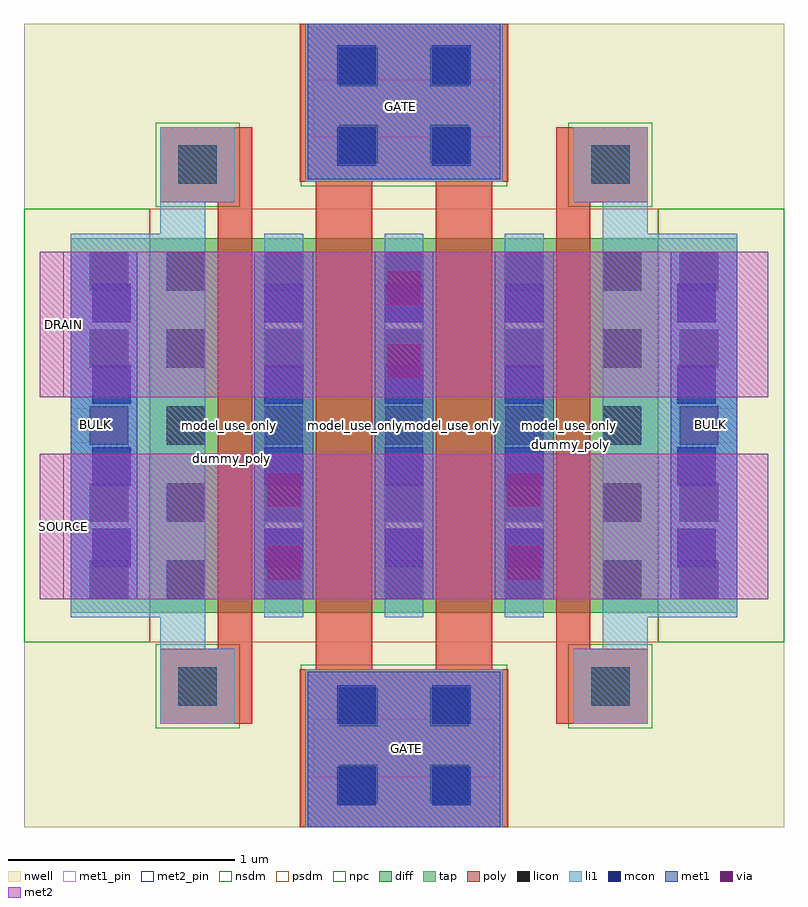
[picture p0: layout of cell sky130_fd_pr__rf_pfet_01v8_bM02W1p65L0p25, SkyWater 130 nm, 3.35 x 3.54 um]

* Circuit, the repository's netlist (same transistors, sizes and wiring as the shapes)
* Copyright 2020 The SkyWater PDK Authors
*
* Licensed under the Apache License, Version 2.0 (the "License");
* you may not use this file except in compliance with the License.
* You may obtain a copy of the License at
*
*     https://www.apache.org/licenses/LICENSE-2.0
*
* Unless required by applicable law or agreed to in writing, software
* distributed under the License is distributed on an "AS IS" BASIS,
* WITHOUT WARRANTIES OR CONDITIONS OF ANY KIND, either express or implied.
* See the License for the specific language governing permissions and
* limitations under the License.
*
* SPDX-License-Identifier: Apache-2.0


.subckt sky130_fd_pr__rf_pfet_01v8_bM02W1p65L0p25 BULK DRAIN GATE SOURCE
X0 SOURCE BULK BULK BULK sky130_fd_pr__pfet_01v8 w=1.65e+06u l=150000u
X1 SOURCE GATE DRAIN BULK sky130_fd_pr__pfet_01v8 w=1.65e+06u l=250000u
X2 BULK BULK SOURCE BULK sky130_fd_pr__pfet_01v8 w=1.65e+06u l=150000u
X3 DRAIN GATE SOURCE BULK sky130_fd_pr__pfet_01v8 w=1.65e+06u l=250000u
.ends

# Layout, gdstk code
import gdstk
lib = gdstk.Library(unit=1e-6, precision=1e-09)
def R(c, l, rs):  # rectangles x0, y0, x1, y1
    for r in rs: c.add(gdstk.rectangle(r[:2], r[2:], *l))
def A(c, l, x, y, w, h, nx, ny, dx, dy):  # array of equal rectangles
    R(c, l, [(x+i*dx, y+j*dy, x+i*dx+w, y+j*dy+h) for i in range(nx) for j in range(ny)])
nwell = (64, 20)
diff = (65, 20)
tap = (65, 44)
poly = (66, 20)
licon = (66, 44)
li1 = (67, 20)
mcon = (67, 44)
met1_pin = (68, 16)
met1 = (68, 20)
via = (68, 44)
met2_pin = (69, 16)
met2 = (69, 20)
nsdm = (93, 44)
psdm = (94, 20)
npc = (95, 20)

sky130_fd_pr__rf_pfet_01 = lib.new_cell('sky130_fd_pr__rf_pfet_01v8_bM02W1p65L0p25')
R(sky130_fd_pr__rf_pfet_01, nwell, [(0,0,3.35,3.54)])
R(sky130_fd_pr__rf_pfet_01, diff, [(0.555,0.945,2.795,2.595)])
R(sky130_fd_pr__rf_pfet_01, tap, [(0.205,0.945,0.555,2.595), (2.795,0.945,3.145,2.595)])
R(sky130_fd_pr__rf_pfet_01, poly, [(1.215,0,2.135,0.695), (0.6,0.455,0.93,0.785), (0.855,0.455,1.005,3.085), (2.345,0.455,2.495,3.085), (2.42,0.455,2.75,0.785), (1.285,0.695,1.535,2.845), (1.815,0.695,2.065,2.845), (0.6,2.755,0.93,3.085), (2.42,2.755,2.75,3.085), (1.215,2.845,2.135,3.54)])
A(sky130_fd_pr__rf_pfet_01, licon, 0.29, 1.005, 0.17, 0.17, 1, 5, 0, 0.34)
A(sky130_fd_pr__rf_pfet_01, licon, 0.63, 1.005, 0.17, 0.17, 1, 5, 0, 0.34)
A(sky130_fd_pr__rf_pfet_01, licon, 1.06, 1.005, 0.17, 0.17, 3, 5, 0.53, 0.34)
A(sky130_fd_pr__rf_pfet_01, licon, 2.55, 1.005, 0.17, 0.17, 1, 5, 0, 0.34)
A(sky130_fd_pr__rf_pfet_01, licon, 2.89, 1.005, 0.17, 0.17, 1, 5, 0, 0.34)
R(sky130_fd_pr__rf_pfet_01, licon, [(1.39,0.105,1.56,0.275), (1.79,0.105,1.96,0.275), (1.39,0.445,1.56,0.615), (1.79,0.445,1.96,0.615), (0.68,0.535,0.85,0.705), (2.5,0.535,2.67,0.705), (0.68,2.835,0.85,3.005), (2.5,2.835,2.67,3.005), (1.39,2.925,1.56,3.095), (1.79,2.925,1.96,3.095), (1.39,3.265,1.56,3.435), (1.79,3.265,1.96,3.435)])
A(sky130_fd_pr__rf_pfet_01, li1, 1.06, 0.925, 0.17, 1.69, 3, 1, 0.53, 0)
R(sky130_fd_pr__rf_pfet_01, li1, [(1.24,0,2.11,0.695), (0.6,0.455,0.93,0.785), (2.42,0.455,2.75,0.785), (0.6,0.785,0.8,0.925), (2.55,0.785,2.75,0.925), (0.205,0.925,0.8,2.615), (2.55,0.925,3.145,2.615), (0.6,2.615,0.8,2.755), (2.55,2.615,2.75,2.755), (0.6,2.755,0.93,3.085), (2.42,2.755,2.75,3.085), (1.24,2.845,2.11,3.54)])
A(sky130_fd_pr__rf_pfet_01, mcon, 0.3, 1.145, 0.17, 0.17, 1, 4, 0, 0.36)
A(sky130_fd_pr__rf_pfet_01, mcon, 1.06, 1.145, 0.17, 0.17, 3, 4, 0.53, 0.36)
A(sky130_fd_pr__rf_pfet_01, mcon, 2.88, 1.145, 0.17, 0.17, 1, 4, 0, 0.36)
R(sky130_fd_pr__rf_pfet_01, mcon, [(1.38,0.095,1.55,0.265), (1.8,0.095,1.97,0.265), (1.38,0.455,1.55,0.625), (1.8,0.455,1.97,0.625), (1.38,2.915,1.55,3.085), (1.8,2.915,1.97,3.085), (1.38,3.275,1.55,3.445), (1.8,3.275,1.97,3.445)])
R(sky130_fd_pr__rf_pfet_01, met1_pin, [(1.275,0.22,2.07,0.475), (0.205,1.695,0.5,1.845), (2.85,1.695,3.145,1.845), (1.275,3.04,2.07,3.295)])
A(sky130_fd_pr__rf_pfet_01, met1, 1.015, 1.005, 0.26, 1.53, 3, 1, 0.53, 0)
R(sky130_fd_pr__rf_pfet_01, met1, [(1.25,0,2.1,0.685), (0.205,1.005,0.5,2.535), (2.85,1.005,3.145,2.535), (1.25,2.855,2.1,3.54)])
R(sky130_fd_pr__rf_pfet_01, via, [(1.07,1.09,1.22,1.24), (2.13,1.09,2.28,1.24), (1.07,1.41,1.22,1.56), (2.13,1.41,2.28,1.56), (1.6,1.98,1.75,2.13), (1.6,2.3,1.75,2.45)])
R(sky130_fd_pr__rf_pfet_01, met2_pin, [(0.07,1.005,0.175,1.645), (0.07,1.895,0.175,2.535)])
R(sky130_fd_pr__rf_pfet_01, met2, [(0.07,1.005,3.28,1.645), (0.07,1.895,3.28,2.535)])
R(sky130_fd_pr__rf_pfet_01, nsdm, [(0,0.815,0.555,2.725), (2.795,0.815,3.35,2.725)])
R(sky130_fd_pr__rf_pfet_01, psdm, [(0.555,0.815,2.795,2.725)])
R(sky130_fd_pr__rf_pfet_01, npc, [(1.22,0,2.13,0.715), (0.58,0.435,0.95,0.805), (2.4,0.435,2.77,0.805), (0.58,2.735,0.95,3.105), (2.4,2.735,2.77,3.105), (1.22,2.825,2.13,3.54)])
sky130_fd_pr__rf_pfet_01.add(gdstk.Label('dummy_poly', (0.915,1.625), layer=83, texttype=44))
sky130_fd_pr__rf_pfet_01.add(gdstk.Label('dummy_poly', (2.41,1.685), layer=83, texttype=44))
sky130_fd_pr__rf_pfet_01.add(gdstk.Label('GATE', (1.66,3.175), layer=68, texttype=5))
sky130_fd_pr__rf_pfet_01.add(gdstk.Label('GATE', (1.685,0.345), layer=68, texttype=5))
sky130_fd_pr__rf_pfet_01.add(gdstk.Label('BULK', (0.315,1.775), layer=68, texttype=16))
sky130_fd_pr__rf_pfet_01.add(gdstk.Label('BULK', (3.025,1.775), layer=68, texttype=16))
sky130_fd_pr__rf_pfet_01.add(gdstk.Label('model_use_only', (1.89,1.77), layer=66, texttype=83))
sky130_fd_pr__rf_pfet_01.add(gdstk.Label('model_use_only', (1.46,1.77), layer=66, texttype=83))
sky130_fd_pr__rf_pfet_01.add(gdstk.Label('model_use_only', (0.905,1.77), layer=66, texttype=83))
sky130_fd_pr__rf_pfet_01.add(gdstk.Label('model_use_only', (2.405,1.77), layer=66, texttype=83))
sky130_fd_pr__rf_pfet_01.add(gdstk.Label('SOURCE', (0.175,1.325), layer=69, texttype=5))
sky130_fd_pr__rf_pfet_01.add(gdstk.Label('DRAIN', (0.175,2.215), layer=69, texttype=5))

lib.write_gds('sky130_fd_pr__rf_pfet_01v8_bM02W1p65L0p25.gds')
